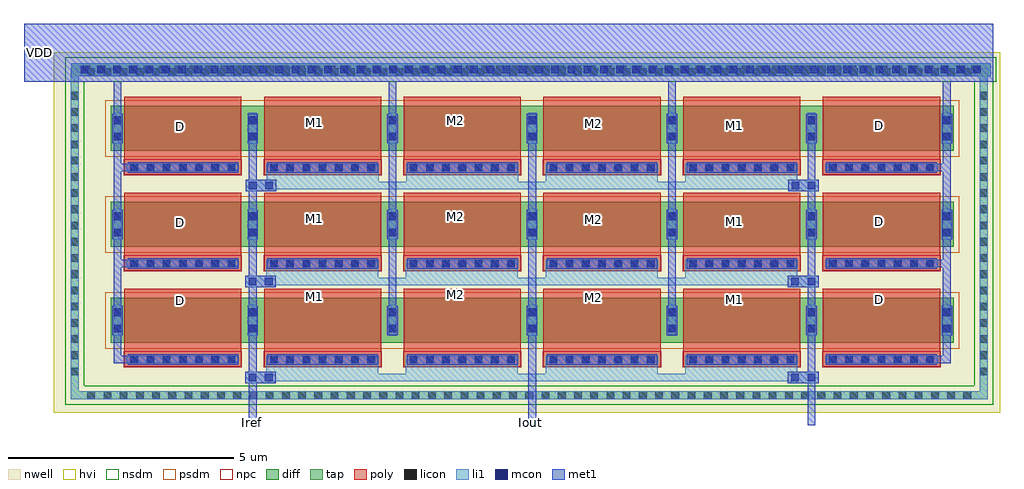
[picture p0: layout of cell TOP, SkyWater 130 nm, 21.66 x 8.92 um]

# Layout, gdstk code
import gdstk
lib = gdstk.Library(unit=1e-6, precision=1e-09)
def R(c, l, rs):  # rectangles x0, y0, x1, y1
    for r in rs: c.add(gdstk.rectangle(r[:2], r[2:], *l))
def A(c, l, x, y, w, h, nx, ny, dx, dy):  # array of equal rectangles
    R(c, l, [(x+i*dx, y+j*dy, x+i*dx+w, y+j*dy+h) for i in range(nx) for j in range(ny)])
def P(c, l, *ps):  # polygons
    for p in ps: c.add(gdstk.Polygon(p, *l))
nwell = (64, 20)
diff = (65, 20)
tap = (65, 44)
poly = (66, 20)
licon = (66, 44)
li1 = (67, 20)
mcon = (67, 44)
met1 = (68, 20)
hvi = (75, 20)
nsdm = (93, 44)
psdm = (94, 20)
npc = (95, 20)

pfet_1 = lib.new_cell('pfet$1')
R(pfet_1, nwell, [(-0.465,-0.88,19.165,1.54)])
R(pfet_1, diff, [(0,0,18.7,1)])
A(pfet_1, poly, 0.3, -0.53, 2.6, 0.33, 6, 1, 3.1, 0)
A(pfet_1, poly, 0.3, -0.2, 2.6, 1.4, 6, 1, 3.1, 0)
A(pfet_1, licon, 0.435, -0.45, 0.17, 0.17, 7, 1, 0.36, 0)
A(pfet_1, licon, 3.535, -0.45, 0.17, 0.17, 7, 1, 0.36, 0)
A(pfet_1, licon, 6.635, -0.45, 0.17, 0.17, 7, 1, 0.36, 0)
A(pfet_1, licon, 9.735, -0.45, 0.17, 0.17, 7, 1, 0.36, 0)
A(pfet_1, licon, 12.835, -0.45, 0.17, 0.17, 7, 1, 0.36, 0)
A(pfet_1, licon, 15.935, -0.45, 0.17, 0.17, 7, 1, 0.36, 0)
A(pfet_1, licon, 3.065, 0.235, 0.17, 0.17, 5, 2, 3.1, 0.36)
R(pfet_1, licon, [(0.065,0.235,0.235,0.405), (18.465,0.235,18.635,0.405), (0.065,0.595,0.235,0.765), (18.465,0.595,18.635,0.765)])
A(pfet_1, li1, 0.355, -0.45, 2.49, 0.17, 6, 1, 3.1, 0)
A(pfet_1, li1, 3.065, 0.155, 0.17, 0.69, 5, 1, 3.1, 0)
R(pfet_1, li1, [(0.065,0.155,0.235,0.845), (18.465,0.155,18.635,0.845)])
A(pfet_1, mcon, 0.435, -0.45, 0.17, 0.17, 7, 1, 0.36, 0)
A(pfet_1, mcon, 3.535, -0.45, 0.17, 0.17, 7, 1, 0.36, 0)
A(pfet_1, mcon, 6.635, -0.45, 0.17, 0.17, 7, 1, 0.36, 0)
A(pfet_1, mcon, 9.735, -0.45, 0.17, 0.17, 7, 1, 0.36, 0)
A(pfet_1, mcon, 12.835, -0.45, 0.17, 0.17, 7, 1, 0.36, 0)
A(pfet_1, mcon, 15.935, -0.45, 0.17, 0.17, 7, 1, 0.36, 0)
A(pfet_1, mcon, 3.065, 0.235, 0.17, 0.17, 5, 2, 3.1, 0.36)
R(pfet_1, mcon, [(0.065,0.235,0.235,0.405), (18.465,0.235,18.635,0.405), (0.065,0.595,0.235,0.765), (18.465,0.595,18.635,0.765)])
A(pfet_1, met1, 0.375, -0.48, 2.45, 0.23, 6, 1, 3.1, 0)
A(pfet_1, met1, 3.035, 0.175, 0.23, 0.65, 5, 1, 3.1, 0)
R(pfet_1, met1, [(0.035,0.175,0.265,0.825), (18.435,0.175,18.665,0.825)])
R(pfet_1, hvi, [(-0.465,-0.88,19.165,1.54)])
R(pfet_1, psdm, [(-0.125,-0.125,18.825,1.125)])
A(pfet_1, npc, 0.29, -0.54, 2.62, 0.35, 6, 1, 3.1, 0)

guard_ring_gen = lib.new_cell('guard_ring_gen')
P(guard_ring_gen, tap, [(-0.17,-0.17),(-0.17,7),(0,7),(0,0),(20,0),(20,7),(-0.17,7),(-0.17,7.17),(20.17,7.17),(20.17,-0.17)])
A(guard_ring_gen, licon, 0.195, -0.17, 0.17, 0.17, 55, 2, 0.36, 7.17)
A(guard_ring_gen, licon, -0.17, 0.355, 0.17, 0.17, 1, 18, 0, 0.36)
A(guard_ring_gen, licon, 20, 0.355, 0.17, 0.17, 1, 18, 0, 0.36)
P(guard_ring_gen, li1, [(-0.17,-0.17),(-0.17,7),(0,7),(0,0),(20,0),(20,7),(-0.17,7),(-0.17,7.17),(20.17,7.17),(20.17,-0.17)])
P(guard_ring_gen, nsdm, [(-0.295,-0.295),(-0.295,6.875),(0.125,6.875),(0.125,0.125),(19.875,0.125),(19.875,6.875),(-0.295,6.875),(-0.295,7.295),(20.295,7.295),(20.295,-0.295)])

vias_gen = lib.new_cell('vias_gen')
R(vias_gen, diff, [(0,0,20.4,0.29)])
A(vias_gen, licon, 0.255, 0.06, 0.17, 0.17, 59, 1, 0.34, 0)
R(vias_gen, li1, [(0,0,20.4,0.29)])
A(vias_gen, mcon, 0.215, 0.06, 0.17, 0.17, 56, 1, 0.36, 0)
R(vias_gen, met1, [(0,0,20.4,0.29)])
R(vias_gen, nsdm, [(-0.125,-0.125,20.525,0.415)])

vias_gen_2 = lib.new_cell('vias_gen$2')
R(vias_gen_2, li1, [(0,0,0.68,0.26)])
R(vias_gen_2, mcon, [(0.075,0.045,0.245,0.215), (0.435,0.045,0.605,0.215)])
R(vias_gen_2, met1, [(0,0,0.68,0.26)])

top = lib.new_cell('TOP')
R(top, nwell, [(-1.775,-5.97,19.225,2.025)])
R(top, li1, [(3.085,-5.27,15.125,-5.1), (3.085,-5.27,15.125,-5.1), (2.95,-5.12,5.435,-4.7), (2.95,-5.12,5.435,-4.7), (6.045,-5.12,8.53,-4.7), (6.045,-5.12,8.53,-4.7), (9.145,-5.12,11.63,-4.7), (9.145,-5.12,11.63,-4.7), (12.24,-5.12,14.725,-4.7), (12.24,-5.12,14.725,-4.7), (3.085,-3.14,15.125,-2.97), (3.085,-3.14,15.125,-2.97), (2.95,-2.99,5.435,-2.57), (2.95,-2.99,5.435,-2.57), (6.045,-2.99,8.53,-2.57), (6.045,-2.99,8.53,-2.57), (9.145,-2.99,11.63,-2.57), (9.145,-2.99,11.63,-2.57), (12.24,-2.99,14.725,-2.57), (12.24,-2.99,14.725,-2.57), (3.09,-1.01,15.13,-0.84), (3.09,-1.01,15.13,-0.84), (2.955,-0.86,5.44,-0.44), (2.955,-0.86,5.44,-0.44), (6.05,-0.86,8.535,-0.44), (6.05,-0.86,8.535,-0.44), (9.15,-0.86,11.635,-0.44), (9.15,-0.86,11.635,-0.44), (12.245,-0.86,14.73,-0.44), (12.245,-0.86,14.73,-0.44)])
A(top, met1, 2.56, -6.25, 0.17, 6.855, 3, 1, 6.2, 0)
R(top, met1, [(-0.44,-4.87,-0.07,-4.7), (-0.44,-4.87,-0.27,1.58), (17.76,-4.87,18.13,-4.7), (17.96,-4.87,18.13,1.58), (11.86,-4.185,12.03,1.91), (5.66,-4.18,5.83,1.915), (-0.39,-2.74,-0.07,-2.57), (17.76,-2.74,18.08,-2.57), (-0.43,-0.61,-0.07,-0.44), (17.76,-0.61,18.12,-0.44), (-2.43,1.375,19.075,2.665)])
R(top, hvi, [(-1.775,-5.97,19.225,2.025)])
top.add(gdstk.Reference(pfet_1, (-0.505,-0.16)))
top.add(gdstk.Reference(pfet_1, (-0.505,-2.29)))
top.add(gdstk.Reference(guard_ring_gen, (-1.22,-5.495)))
top.add(gdstk.Reference(pfet_1, (-0.505,-4.42)))
top.add(gdstk.Reference(vias_gen, (-1.385,1.5)))
top.add(gdstk.Reference(vias_gen_2, (2.485,-1.055)))
top.add(gdstk.Reference(vias_gen_2, (14.525,-1.055)))
top.add(gdstk.Reference(vias_gen_2, (2.48,-3.185)))
top.add(gdstk.Reference(vias_gen_2, (14.52,-3.185)))
top.add(gdstk.Reference(vias_gen_2, (2.48,-5.315)))
top.add(gdstk.Reference(vias_gen_2, (14.52,-5.315)))
top.add(gdstk.Label('M2', (7.145,0.525), layer=68, texttype=25))
top.add(gdstk.Label('M2', (10.205,0.45), layer=68, texttype=25))
top.add(gdstk.Label('M1', (4.015,0.46), layer=68, texttype=25))
top.add(gdstk.Label('M1', (13.34,0.395), layer=68, texttype=25))
top.add(gdstk.Label('D', (16.56,0.4), layer=68, texttype=25))
top.add(gdstk.Label('D', (1.04,0.39), layer=68, texttype=25))
top.add(gdstk.Label('M2', (7.145,-1.605), layer=68, texttype=25))
top.add(gdstk.Label('M2', (10.205,-1.68), layer=68, texttype=25))
top.add(gdstk.Label('M1', (4.015,-1.67), layer=68, texttype=25))
top.add(gdstk.Label('M1', (13.34,-1.735), layer=68, texttype=25))
top.add(gdstk.Label('D', (16.56,-1.73), layer=68, texttype=25))
top.add(gdstk.Label('D', (1.04,-1.74), layer=68, texttype=25))
top.add(gdstk.Label('D', (1.04,-3.47), layer=68, texttype=25))
top.add(gdstk.Label('D', (16.56,-3.46), layer=68, texttype=25))
top.add(gdstk.Label('M1', (13.34,-3.465), layer=68, texttype=25))
top.add(gdstk.Label('M1', (4.015,-3.4), layer=68, texttype=25))
top.add(gdstk.Label('M2', (10.205,-3.41), layer=68, texttype=25))
top.add(gdstk.Label('M2', (7.145,-3.335), layer=68, texttype=25))
top.add(gdstk.Label('VDD', (-2.085,2.02), layer=68, texttype=16))
top.add(gdstk.Label('Iref', (2.625,-6.195), layer=68, texttype=16))
top.add(gdstk.Label('Iout', (8.815,-6.19), layer=68, texttype=16))

lib.write_gds('TOP.gds')
